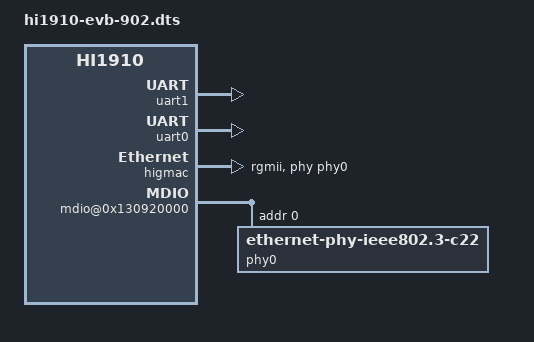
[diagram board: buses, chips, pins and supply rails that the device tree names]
/dts-v1/;
/ { #address-cells = <2>; #size-cells = <2>; hmmicrokernel {
	compatible = "hisilicon,hi1910-evb", "hisilicon,hi1910";
	hisi,boardid = <0 9 0 2>;
	hisi,slotid = <0 0 0 0>;
	interrupt-parent = <&gic>;
	#address-cells = <2>;
	#size-cells = <2>;
	model = "EVB(EP)";

	psci {
		compatible = "arm,psci";
		method = "smc";
	};

	cpus {
		#address-cells = <1>;
		#size-cells = <0>;
		cpu0: cpu@0 {
			compatible = "arm,cortex-a55", "arm,armv8";
			device_type = "cpu";
			logic_id = <0>;
			reg = <0x81080000>;
			pmu {
				compatible = "arm,armv8-pmuv3";
				interrupt-parent = <&gic>;
				/* PPI 23: PMUIRQ, level triggered, hwprio:0x60 */
				interrupts = <23 0x00000060 0xFFFFFFFF>;
			};

		};
		cpu1: cpu@1 {
			compatible = "arm,cortex-a55", "arm,armv8";
			device_type = "cpu";
			logic_id = <1>;
			reg = <0x81080100>;
			pmu {
				compatible = "arm,armv8-pmuv3";
				interrupt-parent = <&gic>;
				/* PPI 23: PMUIRQ, level triggered, hwprio:0x60 */
				interrupts = <23 0x00000060 0xFFFFFFFF>;
			};

		};
		cpu2: cpu@2 {
			compatible = "arm,cortex-a55", "arm,armv8";
			device_type = "cpu";
			logic_id = <2>;
			reg = <0x81080200>;
			pmu {
				compatible = "arm,armv8-pmuv3";
				interrupt-parent = <&gic>;
				/* PPI 23: PMUIRQ, level triggered, hwprio:0x60 */
				interrupts = <23 0x00000060 0xFFFFFFFF>;
			};

		};
		cpu3: cpu@3 {
			compatible = "arm,cortex-a55", "arm,armv8";
			device_type = "cpu";
			logic_id = <3>;
			reg = <0x81080300>;
			pmu {
				compatible = "arm,armv8-pmuv3";
				interrupt-parent = <&gic>;
				/* PPI 23: PMUIRQ, level triggered, hwprio:0x60 */
				interrupts = <23 0x00000060 0xFFFFFFFF>;
			};

		};
	};

	memory@00000000 {
		device_type = "memory";
		reg = <0x00000000 0x07e00000 0x00000000 0x17400000>,
		      <0x00000000 0x20000000 0x00000000 0x40000000>,
		      <0x00000008 0x80000000 0x00000000 0x10000000>;
	};

	/* The reserved memory is taken from the whole system memory. */
	reserved-memory {
		compatible = "reserved-memory";
		#address-cells = <2>;
		#size-cells = <2>;
		memory@0x1fa00000 {
			id = <0x0>;
			reg = <0x0 0x1fa00000 0x0 0x400000>;
			alignment = <0x1000>;
		};
	};

	sysproc {
		#address-cells = <2>;
		#size-cells = <2>;
		sysmgr {
			compatible = "sysproc", "sysmgr";
			/* filled by bootloader */
			reg      = <0x0 0x0 0x0 0x0>;
			vphdr    = <0x0 0x0>;
			ventry   = <0x0 0x0>;
			pvoffset = <0x0 0x0>;
			nphdrs   = <0>;
			stack_start = <0x0 0x0>;
			stack_end = <0x0 0x0>;
			canary = <0x0 0x0>;
		};

		idle {
			compatible = "sysproc", "idle";
			/* filled by bootloader */
			reg      = <0x0 0x0 0x0 0x0>;
			vphdr    = <0x0 0x0>;
			ventry   = <0x0 0x0>;
			pvoffset = <0x0 0x0>;
			nphdrs   = <0>;
			stack_start = <0x0 0x0>;
			stack_end = <0x0 0x0>;
			canary = <0x0 0x0>;
		};

		rootfsdata {
			compatible = "sysproc", "rootfs";
			reg = <0x8 0x80004000 0x0 0x0FFFC000>;
			ventry = <0x0 0x0>;
			/* filled by bootloader */
			pvoffset = <0x0 0x0>;
		};

	};

	kernel {
		compatible = "kernel";
		/* filled by bootloader */
		canary = <0x0 0x0>;
	};

	bootdata {
		#address-cells = <2>;
		#size-cells = <2>;
		dtb {
			compatible = "bootdata", "dtb";
			/* filled by bootloader */
			reg = <0x0 0x0 0x0 0x0>;
		};
	};

	timer {
		compatible = "arm,armv8-timer";
		clock-frequency = <19200000>;

		/* interrupt settings */
		interrupt-parent = <&gic>;

		/* PPI 30: Non-secure physical timer
		 * level triggered, hwprio:0x60 */
		interrupts = <30 0x00000060 0xFFFFFFFF>,
			     <26 0x00000060 0xFFFFFFFF>;
	};

	hm-hypervisor {
		compatible = "hm-hypervisor";
		#address-cells = <2>;
		#size-cells = <2>;

		interrupt-parent = <&gic>;
		interrupts = < 7 0x00000060 0xFFFFFFFF>,
			     <25 0x00000060 0xFFFFFFFF>,
			     <27 0x00000060 0xFFFFFFFF>;

		virtual-timer-irq = <27>;
		vgic-base-address = <0x7F 0xFF000000>;

		hmv {
			compatible = "bootdata";
			/* filled by bootloader */
			entry = <0x0 0x0>;
			reg = <0x0 0x0 0x0 0x0>;
		};

		mem0 {
			device-group = <0>;
			compatible = "udrv";
			normal-mem;
			uvmm-access;
			reg = <0x8 0x90000000 0x0 0x08000000>,
			      <0x8 0xa0000000 0x0 0x10000000>;
			map = <0x0 0x00000000 0x0 0x08000000>,
			      <0x8 0x90000000 0x0 0x10000000>;
		};

		mem1 {
			device-group = <1>;
			compatible = "udrv";
			normal-mem;
			uvmm-access;
			reg = <0x8 0xb0000000 0x0 0x08000000>,
			      <0x8 0xc0000000 0x0 0x10000000>;
			map = <0x0 0x00000000 0x0 0x08000000>,
			      <0x8 0x90000000 0x0 0x10000000>;
		};

		uart0 {
			device-group = <0>;
			reg = <0x01 0x0CF80000 0x0 0x00010000>;
			map = <0x7F 0xFE000000 0x0 0x00010000>;
		};

		uart1 {
			device-group = <0>;
			compatible = "udrv";
			interrupt-parent = <&gic>;
			interrupts = <358 0x000000E0 0xFFFFFFFF>;
			reg = <0x01 0x30930000 0x0 0x00010000>;
			map = <0x7F 0xFE010000 0x0 0x00010000>;
		};

		uart2 {
			device-group = <1>;
			reg = <0x01 0x0CF80000 0x0 0x00010000>;
			map = <0x7F 0xFE000000 0x0 0x00010000>;
		};

		dev_debug {
			device-group = <0>;
			compatible = "udrv";
			msi-parent = <&its>;
			interrupts = <0x2ed 0x0 0xE0 0>;
			reg = <0x1 0x0CF90000 0 0x10000>;
			map = <0x0 0x09010000 0 0x10000>;
		};
	};

	/* See Documentation/dts-gic.md for interrupts and distributor_config */
	gic: interrupt-controller@109000000 {
		compatible = "arm,gic-v3";

		#address-cells = <2>;
		#size-cells = <2>;

		/* Enable group 0, Group1NS, Group1S, ARE_NS, ARE_S,
		 * Split EOI and Deactive Mode */
		distributor-config = <0x80000037>;

		#interrupt-cells = <3>;
		#redistributor-regions = <1>;
		redistributor-stride = <0x20000>;
		interrupt-controller;

		reg =	<0x1 0x09000000 0x0 0x10000>,	/* GICD */
			<0x1 0x09100000 0x0 0x800000>;	/* GICR */
		alignment = <0x100000 0x100000>;

		interrupts = <25 0x000000E0 0xFFFFFFFF>;

		/* We haven't support this */
		its: interrupt-controller@108000000 {
			compatible = "arm,gic-v3-its";
			msi-controller;
			reg = <0x1 0x08000000 0x0 0x1000000>;
			alignment = <0x100000>;
			#interrupt-cells = <4>;
		};
	};

	ipi {
		/* smp ipi */
		compatible = "arm,smp-ipi";

		interrupt-parent = <&gic>;

		/* interrupt settings:
		 * 1st cell: real hardware irq number
		 *     ARM recommendation: ID 0-7 for Non-Secure;
		 *                         ID 8-15 for Secure Interrupt
		 * 2nd cell: interrupt config
		 *     bit [27:26]: Group setting
		 *     bit [24]: Trigger Type
		 *     bit [23:8]: Reserved
		 *     bit [7:0]: Priority
		 * 3rd cell: interrupt target config
		 *     Warning: Send to all cpus by default
		 */
		interrupts =	<0 0x00000060 0xFFFFFFFF>, /* IPI_RESCHEDULE */
				<1 0x00000060 0xFFFFFFFF>; /* IPI_CALL_FUNC */
	};

	/* used to debug its driver */
	debug_dev0:dev_debug@0 {
		compatible = "arm,gic-its-debug0";
		interrupts =	<0x245 0 0xE0 0>,
				<0x245 7 0xE0 0>,
				<0x245 14 0xE0 0>,
				<0x245 23 0xE0 0>;
		msi-parent = <&its>;
	};

	smmu8:smmu_fte@102000000 {
		compatible = "arm,smmu-v3";

		#address-cells = <2>;
		#size-cells = <2>;
		reg = <0x1 0x02000000 0x0 0x20000>;
		alignment = <0x10000>;
		smmu-controller;
		interrupt-parent = <&gic>;

		interrupts = <67 0x02000060 0x00000001>,
			     <68 0x02000060 0x00000001>,
			     <69 0x02000060 0x00000001>;
		#iommu-cells = <0x1>;
		dma-coherent;
		hisilicon,broken-prefetch-cmd;
		hisilicon,broken-spi;
		#iommu-spi-base = <0x1 0x9000040>;
	};

	kev {
		compatible = "huawei,kev-trace";

		/*
		 * This is just a sample configuration. The ring buffer size is
		 * intentially set to a small value to pass the CI test which
		 * calls kev_print() to print ALL kev data in a panic test.
		 */
		memory@0 {
			type = <0x1>;
			id = <0x0>;
			ring-buffer-count = <0x4>;
			/*
			 * Only ring buffer DATA sizes. Memory head and ring
			 * buffer heads are not included.
			 * ring buffer 0: 32K
			 * ring buffer 1: 1M (perf)
			 * ring buffer 2: 256K
			 * ring buffer 3: 2M (klog)
			 */
			ring-buffer-sizes = <0x8000 0x100000 0x40000 0x200000>;
		};
		memory@1 {
			type = <0x0>;
			ring-buffer-count = <0x1>;
			/*
			 * ring buffer 4: 16K(audit)
			 */
			ring-buffer-sizes = <0x4000>;
		};
		kev_sample {
			config = <0x2>;
			enable = <0x1>;
		};
		kev_klog {
			config = <0x8>;
			enable = <0x1>;
		};
		kev_fiq {
			enable = <0x1>;
		};
		kev_audit {
			config = <0x10>;
			enable = <0x1>;
		};
	};

	hm-udrv {
		compatible = "udrv";
		reg = <0x1 0x0cf80000 0x0 0x010000>,
		      <0x1 0x10400000 0x0 0x010000>,
		      <0x1 0x100c0000 0x0 0x010000>,
		      <0x1 0x0cf00000 0x0 0x01000>,
		      <0x1 0x30920000 0x0 0x01000>,
		      <0x1 0x30070000 0x0 0x10000>,
		      <0x0 0x1fe00000 0x0 0x200000>,
		      <0x0 0x1f200000 0x0 0x800000>,
		      <0x1 0x02040000 0x0 0x010000>,
		      <0x1 0x0c000000 0x0 0x010000>;
	};

	coredump {
		coredump_force = <1>;
	};

	security {
		trusted_boot = "disabled";
	};
	};

	soc {
		compatible = "simple-bus";
		#address-cells = <2>;
		#size-cells = <2>;
		ranges;

		uart0: uart@10cf80000 {
			compatible = "arm,pl011", "arm,pl011,uart";
			reg = <0x1 0x0cf80000 0x0 0x10000>;
			alignment = <0x1000>;

			/* kernel control input */
			kernel-input;
			/* enable fifo */
			fifo-enabled;

			clock_frequency = <200000000>; /* 200MHz */
			interrupt-parent=<&gic>;
			interrupts=<357 0x00000060 0x00000001>;
		};

		uio_test: uio_test@10cf80000 {
			compatible = "genuio";
			reg = <0x1 0x0cf80000 0x0 0x10000>;
			alignment = <0x1000>;
		};

		higmac: ethernet@110400000 {
			compatible = "hisilicon,higmac";
			reg = <0x01 0x10400000 0x0 0x10000>,
				<0x01 0x100c0000 0x0 0x10000>,
				<0x01 0x0cf00000 0x0 0x1000>;
			alignment = <0x1000>;
			interrupt-parent = <&gic>;
			interrupts = <234 0x000000E0 0x1>;
			#address-cells = <0x1>;
			#size-cells = <0x0>;
			platform-type = <0x1>;
			phy-mode = "rgmii";
			dma-coherent;
			phy-handle = <&phy0>;
			phy-id = <0x1410e80>;
			mac-where = <0x1>;
			mac-address = [00 00 00 00 00 00];
		};

		/* TODO: the timer is only for single core system. The smp system
		 * is not supported
		 * Thers is no kernel tick field here. This node is just for the
		 * user-space timer to probe.
		 */
		arm_generic_timer: generic_timer {
			compatible = "arm,armv8-generic-timer";
			clock-frequency = <19200000>;

			/* interrupt settings */
			interrupt-parent = <&gic>;

			/* PPI 30: Non-secure physical timer
			 * level triggered, only cpu0, hwprio:0x60 */
			interrupts = <30 0x00000060 0x00000001>;
		};

		peri_c_subctrl: sub_ctrl_c@10c000000 {
			compatible = "hisilicon,peri-c-subctrl", "syscon";
			reg = <0x1 0x30070000 0x0 0x10000>;
		};

		mdio@0x130920000 {
			#address-cells = <1>;
			#size-cells = <0>;
			compatible = "hisilicon,hns-mdio";
			reg = <1 0x30920000 0 0x1000>;
			subctrl-vbase = <&peri_c_subctrl 0x630 0xd30 0x5630 0x5d30>;
			alignment = <0x1000>;
			gpio-type = <0x1>;
			status = "ok";
			phy0: ethernet-phy@0 {
				compatible = "ethernet-phy-ieee802.3-c22";
				reg = <0x0>;
				max-speed = <1000>;
			};
		};

		pramdisk0: pramdisk@0x1f200000 {
			compatible = "udrv", "hm-pramdisk", "hm-reserved-memory";
			reg = <0x00000000 0x1f200000 0x00000000 0x0800000>;
		};

		iccshmem: iccshmem@1fe00000 {
			compatible = "hm-iccshmem";
			reg = <0x00000000 0x1fe00000 0x00000000 0x200000>;
		};

		/include/ "hi1910-aicpu-drv.dtsi"

		master0: test_master0 {
			iommus = <&smmu8 776>;
		};

		master1: test_master1 {
			iommus = <&smmu8 777>;
		};

		peri_fte: peri_fte@0x102040000 {
			compatible = "hisilicon, fte_smmu_drv";
			iommus = <&smmu8 0x7f8a>;
			alignment = <0x1000>;
		};

	};

	watchdog {
		compatible = "watchdog";
		/* reserve 35s for hguard to take over the watchdog */
		highdog-timeout = <35>;
		/* reserve 10s for subcore to be pulled up*/
		lowdog-timeout = <10>;
	};

	sbsa-gwdt {
		compatible = "arm,sbsa-gwdt";
		reg = <0x1 0x0c200000 0x0 0x20000>;
		timeout-sec = <10>;
		alignment = <0x20000>;
	};

	chosen {
		 bootargs = "";
	};
};
